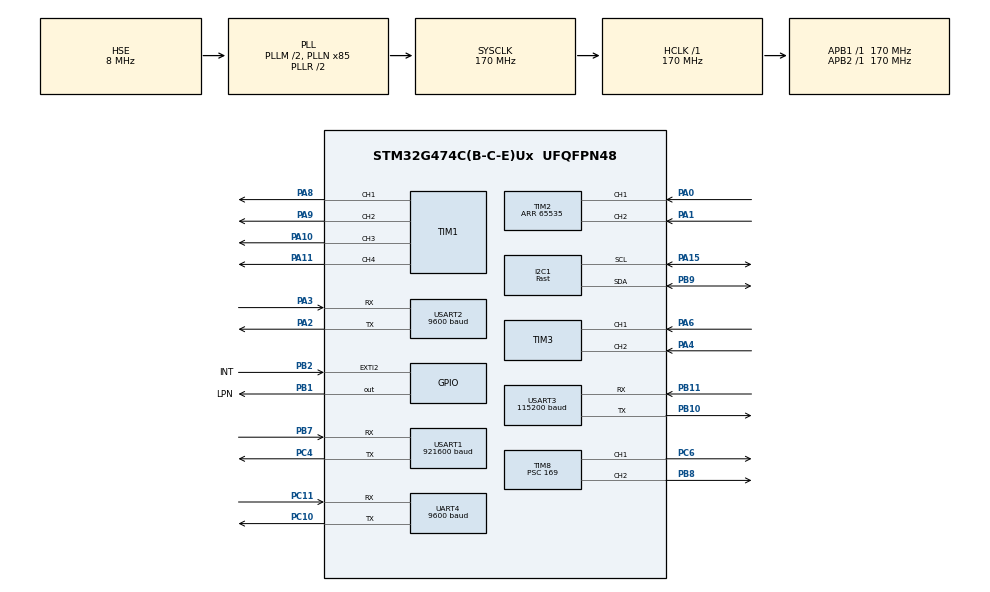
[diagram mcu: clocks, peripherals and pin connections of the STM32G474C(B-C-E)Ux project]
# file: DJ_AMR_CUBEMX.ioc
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Dma.Request0=USART1_RX
Dma.Request1=USART1_TX
Dma.USART1_RX.0.Direction=DMA_PERIPH_TO_MEMORY
Dma.USART1_RX.0.EventEnable=DISABLE
Dma.USART1_RX.0.Instance=DMA1_Channel1
Dma.USART1_RX.0.MemDataAlignment=DMA_MDATAALIGN_BYTE
Dma.USART1_RX.0.MemInc=DMA_MINC_ENABLE
Dma.USART1_RX.0.Mode=DMA_CIRCULAR
Dma.USART1_RX.0.PeriphDataAlignment=DMA_PDATAALIGN_BYTE
Dma.USART1_RX.0.PeriphInc=DMA_PINC_DISABLE
Dma.USART1_RX.0.Polarity=HAL_DMAMUX_REQ_GEN_RISING
Dma.USART1_RX.0.Priority=DMA_PRIORITY_VERY_HIGH
Dma.USART1_RX.0.RequestNumber=1
Dma.USART1_RX.0.SignalID=NONE
Dma.USART1_RX.0.SyncEnable=DISABLE
Dma.USART1_RX.0.SyncPolarity=HAL_DMAMUX_SYNC_NO_EVENT
Dma.USART1_RX.0.SyncRequestNumber=1
Dma.USART1_RX.0.SyncSignalID=NONE
Dma.USART1_TX.1.Direction=DMA_MEMORY_TO_PERIPH
Dma.USART1_TX.1.EventEnable=DISABLE
Dma.USART1_TX.1.Instance=DMA1_Channel2
Dma.USART1_TX.1.MemDataAlignment=DMA_MDATAALIGN_BYTE
Dma.USART1_TX.1.MemInc=DMA_MINC_ENABLE
Dma.USART1_TX.1.Mode=DMA_NORMAL
Dma.USART1_TX.1.PeriphDataAlignment=DMA_PDATAALIGN_BYTE
Dma.USART1_TX.1.PeriphInc=DMA_PINC_DISABLE
Dma.USART1_TX.1.Polarity=HAL_DMAMUX_REQ_GEN_RISING
Dma.USART1_TX.1.Priority=DMA_PRIORITY_VERY_HIGH
Dma.USART1_TX.1.RequestNumber=1
Dma.USART1_TX.1.SignalID=NONE
Dma.USART1_TX.1.SyncEnable=DISABLE
Dma.USART1_TX.1.SyncPolarity=HAL_DMAMUX_SYNC_NO_EVENT
Dma.USART1_TX.1.SyncRequestNumber=1
Dma.USART1_TX.1.SyncSignalID=NONE
FREERTOS.Tasks01=defaultTask,24,3000,StartDefaultTask,Default,NULL,Dynamic,NULL,NULL
FREERTOS.configTOTAL_HEAP_SIZE=32768
I2C1.I2C_Speed_Mode=I2C_Fast
I2C1.Timing=0x40621236
Mcu.Family=STM32G4
Mcu.Name=STM32G474C(B-C-E)Ux
Mcu.Package=UFQFPN48
NVIC.DMA1_Channel1_IRQn=true\:5\:0\:false\:false\:true\:true\:false\:true\:true
NVIC.DMA1_Channel2_IRQn=true\:5\:0\:false\:false\:true\:true\:false\:true\:true
NVIC.EXTI2_IRQn=true\:5\:0\:false\:false\:true\:true\:true\:true\:true
NVIC.PriorityGroup=NVIC_PRIORITYGROUP_4
NVIC.TIM4_IRQn=true\:5\:0\:false\:false\:true\:true\:true\:true\:true
NVIC.TIM7_DAC_IRQn=true\:15\:0\:false\:false\:true\:false\:false\:true\:true
NVIC.TimeBase=TIM7_DAC_IRQn
NVIC.TimeBaseIP=TIM7
NVIC.UART4_IRQn=true\:5\:0\:false\:false\:true\:true\:true\:true\:true
NVIC.USART1_IRQn=true\:5\:0\:false\:false\:true\:true\:false\:true\:true
NVIC.USART2_IRQn=true\:5\:0\:false\:false\:true\:true\:true\:true\:true
NVIC.USART3_IRQn=true\:5\:0\:false\:false\:true\:true\:true\:true\:true
PA0.Signal=S_TIM2_CH1
PA1.Signal=S_TIM2_CH2
PA10.Signal=S_TIM1_CH3
PA11.Signal=S_TIM1_CH4
PA13.Mode=Serial_Wire
PA13.Signal=SYS_JTMS-SWDIO
PA14.Mode=Serial_Wire
PA14.Signal=SYS_JTCK-SWCLK
PA15.Mode=I2C
PA15.Signal=I2C1_SCL
PA2.Mode=Asynchronous
PA2.Signal=USART2_TX
PA3.Mode=Asynchronous
PA3.Signal=USART2_RX
PA4.Signal=S_TIM3_CH2
PA6.Signal=S_TIM3_CH1
PA8.Signal=S_TIM1_CH1
PA9.Signal=S_TIM1_CH2
PB1.GPIO_Label=LPN
PB1.Signal=GPIO_Output
PB10.Mode=Asynchronous
PB10.Signal=USART3_TX
PB11.Mode=Asynchronous
PB11.Signal=USART3_RX
PB2.GPIO_Label=INT
PB2.GPIO_ModeDefaultEXTI=GPIO_MODE_IT_FALLING
PB2.Signal=GPXTI2
PB7.Mode=Asynchronous
PB7.Signal=USART1_RX
PB8-BOOT0.Signal=S_TIM8_CH2
PB9.Mode=I2C
PB9.Signal=I2C1_SDA
PC10.Mode=Asynchronous
PC10.Signal=UART4_TX
PC11.Mode=Asynchronous
PC11.Signal=UART4_RX
PC4.Mode=Asynchronous
PC4.Signal=USART1_TX
PC6.Signal=S_TIM8_CH1
PF0-OSC_IN.Mode=HSE-External-Oscillator
PF0-OSC_IN.Signal=RCC_OSC_IN
PF1-OSC_OUT.Mode=HSE-External-Oscillator
PF1-OSC_OUT.Signal=RCC_OSC_OUT
ProjectManager.HeapSize=0x200
ProjectManager.StackSize=0x400
ProjectManager.TargetToolchain=Makefile
RCC.ADC12Freq_Value=170000000
RCC.ADC345Freq_Value=170000000
RCC.AHBFreq_Value=170000000
RCC.APB1Freq_Value=170000000
RCC.APB1TimFreq_Value=170000000
RCC.APB2Freq_Value=170000000
RCC.APB2TimFreq_Value=170000000
RCC.CortexFreq_Value=170000000
RCC.EXTERNAL_CLOCK_VALUE=12288000
RCC.HCLKFreq_Value=170000000
RCC.HSE_VALUE=8000000
RCC.HSI48_VALUE=48000000
RCC.HSI_VALUE=16000000
RCC.LSE_VALUE=32768
RCC.PLLM=RCC_PLLM_DIV2
RCC.PLLN=85
RCC.PLLSourceVirtual=RCC_PLLSOURCE_HSE
RCC.PREFETCH_ENABLE=1
RCC.SYSCLKFreq_VALUE=170000000
RCC.SYSCLKSource=RCC_SYSCLKSOURCE_PLLCLK
RCC.USBFreq_Value=170000000
RCC.VCOOutputFreq_Value=340000000
SH.S_TIM1_CH1.0=TIM1_CH1,PWM Generation1 CH1
SH.S_TIM1_CH2.0=TIM1_CH2,PWM Generation2 CH2
SH.S_TIM1_CH3.0=TIM1_CH3,PWM Generation3 CH3
SH.S_TIM1_CH4.0=TIM1_CH4,PWM Generation4 CH4
SH.S_TIM2_CH1.0=TIM2_CH1,Encoder_Interface
SH.S_TIM2_CH2.0=TIM2_CH2,Encoder_Interface
SH.S_TIM3_CH1.0=TIM3_CH1,Encoder_Interface
SH.S_TIM3_CH2.0=TIM3_CH2,Encoder_Interface
SH.S_TIM8_CH1.0=TIM8_CH1,PWM Generation1 CH1
SH.S_TIM8_CH2.0=TIM8_CH2,PWM Generation2 CH2
TIM1.Channel-PWM\ Generation1\ CH1=TIM_CHANNEL_1
TIM1.Channel-PWM\ Generation2\ CH2=TIM_CHANNEL_2
TIM1.Channel-PWM\ Generation3\ CH3=TIM_CHANNEL_3
TIM1.Channel-PWM\ Generation4\ CH4=TIM_CHANNEL_4
TIM2.EncoderMode=TIM_ENCODERMODE_TI12
TIM2.PeriodNoDither=65535
TIM3.EncoderMode=TIM_ENCODERMODE_TI12
TIM4.PeriodNoDither=999
TIM4.Prescaler=1699
TIM8.Channel-PWM\ Generation1\ CH1=TIM_CHANNEL_1
TIM8.Channel-PWM\ Generation2\ CH2=TIM_CHANNEL_2
TIM8.PeriodNoDither=19999
TIM8.Prescaler=169
UART4.BaudRate=9600
USART1.BaudRate=921600
USART1.OverSampling=UART_OVERSAMPLING_8
USART1.VirtualMode-Asynchronous=VM_ASYNC
USART2.BaudRate=9600
USART2.VirtualMode-Asynchronous=VM_ASYNC
USART3.BaudRate=115200
USART3.VirtualMode-Asynchronous=VM_ASYNC
VP_FREERTOS_VS_CMSIS_V2.Mode=CMSIS_V2
VP_SYS_VS_DBSignals.Mode=DisableDeadBatterySignals
VP_SYS_VS_tim7.Mode=TIM7
VP_TIM1_VS_ClockSourceINT.Mode=Internal
VP_TIM4_VS_ClockSourceINT.Mode=Internal
board=custom

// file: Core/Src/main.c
/* USER CODE BEGIN Header */
/**
  ******************************************************************************
  * @file           : main.c
  * @brief          : Main program body
  ******************************************************************************
  * @attention
  *
  * Copyright (c) 2026 STMicroelectronics.
  * All rights reserved.
  *
  * This software is licensed under terms that can be found in the LICENSE file
  * in the root directory of this software component.
  * If no LICENSE file comes with this software, it is provided AS-IS.
  *
  ******************************************************************************
  */
/* USER CODE END Header */
#include "main.h"
#include "cmsis_os.h"
#include "dma.h"
#include "i2c.h"
#include "tim.h"
#include "usart.h"
#include "gpio.h"

/* USER CODE BEGIN Includes */
#include "microros_diagnostics.h"

/* USER CODE END Includes */

void SystemClock_Config(void);
void MX_FREERTOS_Init(void);

/* USER CODE BEGIN 0 */

void I2C1_Clear_Busy_Flag(void) {
  GPIO_InitTypeDef GPIO_InitStruct = {0};

  // 1. Enable GPIO Clock
  __HAL_RCC_GPIOA_CLK_ENABLE();
  __HAL_RCC_GPIOB_CLK_ENABLE();

  // 2. Configure SCL (PA15) and SDA (PB9) as Output Open-Drain
  GPIO_InitStruct.Mode = GPIO_MODE_OUTPUT_OD;
  GPIO_InitStruct.Pull = GPIO_NOPULL;
  GPIO_InitStruct.Speed = GPIO_SPEED_FREQ_HIGH;
  GPIO_InitStruct.Pin = GPIO_PIN_15;
  HAL_GPIO_Init(GPIOA, &GPIO_InitStruct);
  GPIO_InitStruct.Pin = GPIO_PIN_9;
  HAL_GPIO_Init(GPIOB, &GPIO_InitStruct);

  // 3. Force SDA high
  HAL_GPIO_WritePin(GPIOB, GPIO_PIN_9, GPIO_PIN_SET);

  // 4. Clock SCL 10 times to free the bus
  for (int i = 0; i < 10; i++) {
      HAL_GPIO_WritePin(GPIOA, GPIO_PIN_15, GPIO_PIN_RESET);
      HAL_Delay(1);
      HAL_GPIO_WritePin(GPIOA, GPIO_PIN_15, GPIO_PIN_SET);
      HAL_Delay(1);
  }

  // 5. Generate a STOP condition manually
  HAL_GPIO_WritePin(GPIOB, GPIO_PIN_9, GPIO_PIN_RESET);
  HAL_Delay(1);
  HAL_GPIO_WritePin(GPIOB, GPIO_PIN_9, GPIO_PIN_SET);
  HAL_Delay(1);
}

/* USER CODE END 0 */

int main(void)
{

  /* USER CODE BEGIN 1 */

  MicroRosDiagnostics_CaptureResetCause();

  /* USER CODE END 1 */

  /* MCU Configuration--------------------------------------------------------*/

  /* Reset of all peripherals, Initializes the Flash interface and the Systick. */
  HAL_Init();

  /* Configure the system clock */
  SystemClock_Config();

  /* USER CODE BEGIN SysInit */

  I2C1_Clear_Busy_Flag();

  /* USER CODE END SysInit */

  /* Initialize all configured peripherals */
  MX_GPIO_Init();
  MX_DMA_Init();
  MX_I2C1_Init();
  MX_TIM1_Init();
  MX_TIM2_Init();
  MX_TIM3_Init();
  MX_TIM4_Init();
  MX_USART1_UART_Init();
  MX_UART4_Init();
  MX_USART2_UART_Init();
  MX_USART3_UART_Init();
  MX_TIM8_Init();

  /* Init scheduler */
  osKernelInitialize();  /* Call init function for freertos objects (in cmsis_os2.c) */
  MX_FREERTOS_Init();

  /* Start scheduler */
  osKernelStart();

  /* We should never get here as control is now taken by the scheduler */

  /* Infinite loop */
  while (1)
  {

  }
}

void SystemClock_Config(void)
{
  RCC_OscInitTypeDef RCC_OscInitStruct = {0};
  RCC_ClkInitTypeDef RCC_ClkInitStruct = {0};

  /** Configure the main internal regulator output voltage
  */
  HAL_PWREx_ControlVoltageScaling(PWR_REGULATOR_VOLTAGE_SCALE1_BOOST);

  /** Initializes the RCC Oscillators according to the specified parameters
  * in the RCC_OscInitTypeDef structure.
  */
  RCC_OscInitStruct.OscillatorType = RCC_OSCILLATORTYPE_HSE;
  RCC_OscInitStruct.HSEState = RCC_HSE_ON;
  RCC_OscInitStruct.PLL.PLLState = RCC_PLL_ON;
  RCC_OscInitStruct.PLL.PLLSource = RCC_PLLSOURCE_HSE;
  RCC_OscInitStruct.PLL.PLLM = RCC_PLLM_DIV2;
  RCC_OscInitStruct.PLL.PLLN = 85;
  RCC_OscInitStruct.PLL.PLLP = RCC_PLLP_DIV2;
  RCC_OscInitStruct.PLL.PLLQ = RCC_PLLQ_DIV2;
  RCC_OscInitStruct.PLL.PLLR = RCC_PLLR_DIV2;
  if (HAL_RCC_OscConfig(&RCC_OscInitStruct) != HAL_OK)
  {
    Error_Handler();
  }

  /** Initializes the CPU, AHB and APB buses clocks
  */
  RCC_ClkInitStruct.ClockType = RCC_CLOCKTYPE_HCLK|RCC_CLOCKTYPE_SYSCLK
                              |RCC_CLOCKTYPE_PCLK1|RCC_CLOCKTYPE_PCLK2;
  RCC_ClkInitStruct.SYSCLKSource = RCC_SYSCLKSOURCE_PLLCLK;
  RCC_ClkInitStruct.AHBCLKDivider = RCC_SYSCLK_DIV1;
  RCC_ClkInitStruct.APB1CLKDivider = RCC_HCLK_DIV1;
  RCC_ClkInitStruct.APB2CLKDivider = RCC_HCLK_DIV1;

  if (HAL_RCC_ClockConfig(&RCC_ClkInitStruct, FLASH_LATENCY_4) != HAL_OK)
  {
    Error_Handler();
  }
}

/* USER CODE BEGIN 4 */

#include <unistd.h>
#include <stdint.h>

// 1. micro-ROS requires usleep for internal delays.
int usleep(useconds_t usec)
{
    uint32_t ms = (usec / 1000);
    if (ms == 0) ms = 1;
    osDelay(ms);
    return 0;
}

// 2. Memory barrier for micro-ROS timers
void __sync_synchronize(void) {
    __asm__ volatile ("dmb" ::: "memory"); // Native Cortex-M4 Data Memory Barrier
}

// 3. Atomic exchange for micro-ROS executors
unsigned int __atomic_exchange_4(volatile void *mem, unsigned int val, int model) {
    volatile unsigned int *value = (volatile unsigned int *)mem;
    unsigned int old_val;
    (void)model;

    // Safely disable interrupts to prevent context switches
    uint32_t primask = __get_PRIMASK();
    __disable_irq();

    // Swap the values
    old_val = *value;
    *value = val;

    // Restore previous interrupt state
    __set_PRIMASK(primask);

    return old_val;
}

extern volatile uint8_t tof_data_ready; // Points to the variable in app_freertos.c
extern volatile uint32_t tof_irq_count;
extern volatile uint32_t tof_last_irq_ms;
extern volatile uint32_t tof_irq_period_ms;

void HAL_GPIO_EXTI_Callback(uint16_t GPIO_Pin) {
    if (GPIO_Pin == INT_Pin) {
        uint32_t now = HAL_GetTick();

        if (tof_last_irq_ms != 0U)
            tof_irq_period_ms = now - tof_last_irq_ms;

        tof_last_irq_ms = now;
        tof_irq_count++;
        tof_data_ready = 1;
    }
}

/* USER CODE END 4 */

void Error_Handler(void)
{
  __disable_irq();
  while (1)
  {
  }
}

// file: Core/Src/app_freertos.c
/* USER CODE BEGIN Header */
/**
  ******************************************************************************
  * File Name          : app_freertos.c
  * Description        : Code for freertos applications
  ******************************************************************************
  * @attention
  *
  * Copyright (c) 2026 STMicroelectronics.
  * All rights reserved.
  *
  * This software is licensed under terms that can be found in the LICENSE file
  * in the root directory of this software component.
  * If no LICENSE file comes with this software, it is provided AS-IS.
  *
  ******************************************************************************
  */
/* USER CODE END Header */

#include "FreeRTOS.h"
#include "task.h"
#include "main.h"
#include "cmsis_os.h"

/* USER CODE BEGIN Includes */
#include "microros_app.h"
#include "imu.h"
#include "motor.h"
#include "range.h"
#include "i2c.h"
#include "tim.h"
#include "vl53l7cx_api.h"
/* USER CODE END Includes */

/* USER CODE BEGIN PD */
#define TOF_RETRY_INTERVAL_MS       2000U
#define TOF_FIRST_FRAME_TIMEOUT_MS  1000U
#define TOF_STALE_TIMEOUT_MS         500U
#define TOF_MAX_READ_ERRORS            3U
/* USER CODE END PD */

/* USER CODE BEGIN Variables */

VL53L7CX_Configuration Dev;
VL53L7CX_ResultsData Results;
volatile uint8_t tof_data_ready = 0;
volatile uint8_t tof_alive_status = 0;
volatile uint32_t tof_irq_count = 0;
volatile uint32_t tof_last_irq_ms = 0;
volatile uint32_t tof_irq_period_ms = 0;
volatile uint32_t tof_frame_count = 0;
volatile uint32_t tof_last_frame_ms = 0;
volatile uint8_t tof_last_read_status = 0;
volatile uint32_t tof_start_attempt_count = 0;
volatile uint32_t tof_read_error_count = 0;
volatile uint8_t tof_consecutive_read_errors = 0;

/* USER CODE END Variables */
/* Definitions for defaultTask */
osThreadId_t defaultTaskHandle;
const osThreadAttr_t defaultTask_attributes = {
  .name = "defaultTask",
  .priority = (osPriority_t) osPriorityNormal,
  .stack_size = 3000 * 4
};

/* USER CODE BEGIN FunctionPrototypes */
void Hardware_Task(void *argument);
/* USER CODE END FunctionPrototypes */

void StartDefaultTask(void *argument);

void MX_FREERTOS_Init(void); /* (MISRA C 2004 rule 8.1) */

void MX_FREERTOS_Init(void) {

  /* Create the thread(s) */
  /* creation of defaultTask */
  defaultTaskHandle = osThreadNew(StartDefaultTask, NULL, &defaultTask_attributes);

  /* USER CODE BEGIN RTOS_THREADS */
  /* add threads, ... */
  osThreadId_t hardwareTaskHandle;
  const osThreadAttr_t hardwareTask_attributes = {
    .name = "hardwareTask",
    .priority = (osPriority_t) osPriorityHigh,
    .stack_size = 1024 * 4
  };
  hardwareTaskHandle = osThreadNew(Hardware_Task, NULL, &hardwareTask_attributes);
  (void)hardwareTaskHandle;
  /* USER CODE END RTOS_THREADS */

}

void StartDefaultTask(void *argument)
{
  /* USER CODE BEGIN StartDefaultTask */
  /* Infinite loop */
  run_microros_app();
  /* USER CODE END StartDefaultTask */
}

/* USER CODE BEGIN Application */

static bool ToF_Start(void)
{
    uint8_t is_alive = 0;
    uint8_t status;

    tof_start_attempt_count++;
    tof_alive_status = 0;
    tof_data_ready = 0;
    HAL_GPIO_WritePin(LPN_GPIO_Port, LPN_Pin, GPIO_PIN_RESET);
    osDelay(10);
    HAL_GPIO_WritePin(LPN_GPIO_Port, LPN_Pin, GPIO_PIN_SET);
    osDelay(100);

    Dev.platform.address = 0x52;
    status = vl53l7cx_is_alive(&Dev, &is_alive);
    if (status != VL53L7CX_STATUS_OK || !is_alive)
        goto failed;

    status = vl53l7cx_init(&Dev);
    if (status != VL53L7CX_STATUS_OK)
        goto failed;
    status = vl53l7cx_set_resolution(&Dev, VL53L7CX_RESOLUTION_8X8);
    if (status != VL53L7CX_STATUS_OK)
        goto failed;
    status = vl53l7cx_set_ranging_frequency_hz(&Dev, 10);
    if (status != VL53L7CX_STATUS_OK)
        goto failed;
    status = vl53l7cx_start_ranging(&Dev);
    if (status != VL53L7CX_STATUS_OK)
        goto failed;

    tof_last_read_status = VL53L7CX_STATUS_OK;
    tof_last_irq_ms = 0;
    tof_last_frame_ms = 0;
    tof_consecutive_read_errors = 0;
    tof_alive_status = 1;
    return true;

failed:
    tof_last_read_status = status;
    HAL_GPIO_WritePin(LPN_GPIO_Port, LPN_Pin, GPIO_PIN_RESET);
    return false;
}

void Hardware_Task(void *argument)
{
    uint32_t tof_last_retry_ms;
    uint32_t tof_started_ms = 0;

    // --- 1. SENSOR INITIALIZATION PHASE ---

    // Hold VL53L7CX in reset to prevent I2C interference
    HAL_GPIO_WritePin(LPN_GPIO_Port, LPN_Pin, GPIO_PIN_RESET);
    osDelay(10); // Let the bus settle

    // Initialize the IMU while the ToF is asleep
    if (MPU6050_Init(&hi2c1)) {
      (void)MPU6050_Calibrate(&hi2c1);
    }

    if (ToF_Start())
        tof_started_ms = HAL_GetTick();
    tof_last_retry_ms = HAL_GetTick();

    // --- 2. TIMER INITIALIZATION PHASE ---

    HAL_TIM_PWM_Start(&htim1, TIM_CHANNEL_1);
    HAL_TIM_PWM_Start(&htim1, TIM_CHANNEL_2);
    HAL_TIM_PWM_Start(&htim1, TIM_CHANNEL_3);
    HAL_TIM_PWM_Start(&htim1, TIM_CHANNEL_4);
    HAL_TIM_PWM_Start(&htim8, TIM_CHANNEL_1);
    HAL_TIM_PWM_Start(&htim8, TIM_CHANNEL_2);
    HAL_TIM_Encoder_Start_IT(&htim2, TIM_CHANNEL_ALL);
    HAL_TIM_Encoder_Start_IT(&htim3, TIM_CHANNEL_ALL);
    HAL_TIM_Base_Start_IT(&htim4);

    Range_UART_IT_Init();

    for(;;)
    {
        uint32_t now = HAL_GetTick();

        Read_IMU();
        Range_Service(now);

        if (tof_alive_status && tof_data_ready) {
            tof_data_ready = 0;
            tof_last_read_status = vl53l7cx_get_ranging_data(&Dev, &Results);

            if (tof_last_read_status == VL53L7CX_STATUS_OK) {
                tof_consecutive_read_errors = 0;
                tof_frame_count++;
                tof_last_frame_ms = now;
            } else {
                tof_read_error_count++;
                if (tof_consecutive_read_errors < UINT8_MAX) {
                    tof_consecutive_read_errors++;
                }
                if (tof_consecutive_read_errors >= TOF_MAX_READ_ERRORS) {
                    tof_alive_status = 0;
                }
            }
        }

        bool tof_stale = tof_alive_status &&
            ((tof_last_frame_ms == 0U &&
              (now - tof_started_ms) > TOF_FIRST_FRAME_TIMEOUT_MS) ||
             (tof_last_frame_ms != 0U &&
              (now - tof_last_frame_ms) > TOF_STALE_TIMEOUT_MS));

        if (tof_stale) {
            tof_alive_status = 0;
            tof_last_read_status = VL53L7CX_STATUS_TIMEOUT_ERROR;
        }

        if (!tof_alive_status &&
            (now - tof_last_retry_ms) >= TOF_RETRY_INTERVAL_MS) {
            tof_last_retry_ms = now;
            tof_consecutive_read_errors = 0;
            if (ToF_Start())
                tof_started_ms = HAL_GetTick();
        }

        osDelay(5);
    }
}

/* USER CODE END Application */
